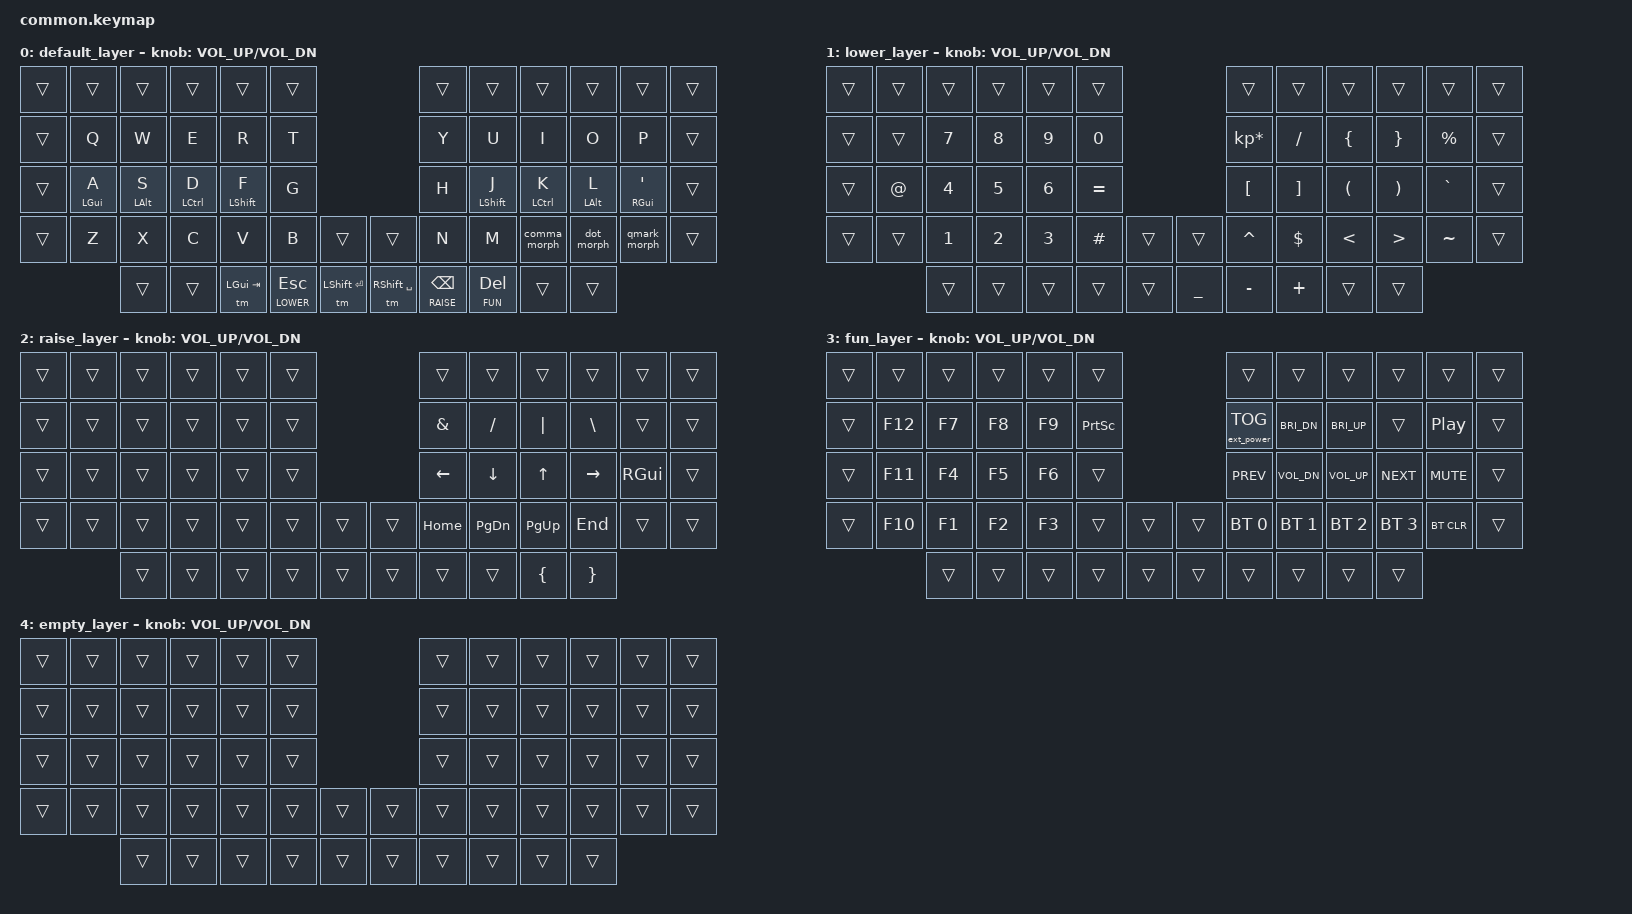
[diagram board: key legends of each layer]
#include <behaviors.dtsi>
#include <dt-bindings/zmk/keys.h>
#include <dt-bindings/zmk/bt.h>
#include <dt-bindings/zmk/ext_power.h>
#include "includes/mods.dtsi"
#include "includes/combos.dtsi"
#include "includes/morphs.dtsi"
#include "includes/settings.dtsi"

#define BASE  0
#define LOWER 1
#define RAISE 2
#define FUN   3

/ {
 
  keymap {
    compatible = "zmk,keymap";

    default_layer {
      bindings = <
//    ╭───┬─────────────┬─────────────┬──────────────┬──────────────┬───────────────╮                                 ╭────────────────┬──────────────┬──────────────┬─────────────┬──────────────┬───╮
//    │   │             │             │              │              │               │                                 │                │              │              │             │              │   │
//    ├───┼─────────────┼─────────────┼──────────────┼──────────────┼───────────────┤                                 ├────────────────┼──────────────┼──────────────┼─────────────┼──────────────┼───┤
//    │   │      Q      │      W      │      E       │      R       │       T       │                                 │       Y        │      U       │      I       │      O      │      P       │   │
//    ├───┼─────────────┼─────────────┼──────────────┼──────────────┼───────────────┤                                 ├────────────────┼──────────────┼──────────────┼─────────────┼──────────────┼───┤
//    │   │ &hml LGUI A │ &hml LALT S │ &hml LCTRL D │ &hml LSHFT F │       G       │                                 │       H        │ &hmr LSHFT J │ &hmr LCTRL K │ &hmr LALT L │ &hmr RGUI '  │   │
//    ├───┼─────────────┼─────────────┼──────────────┼──────────────┼───────────────┼───────────────┬─────────────────┼────────────────┼──────────────┼──────────────┼─────────────┼──────────────┼───┤
//    │   │      Z      │      X      │      C       │      V       │       B       │               │                 │       N        │      M       │ &comma_morph │ &dot_morph  │ &qmark_morph │   │
//    ╰───┴─────────────┼─────────────┼──────────────┼──────────────┼───────────────┼───────────────┼─────────────────┼────────────────┼──────────────┼──────────────┼─────────────┼──────────────┴───╯
//                      │             │              │ &tm LGUI TAB │ &lt LOWER ESC │ &tm LSHFT RET │ &tm RSHFT SPACE │ &lt RAISE BSPC │ &lt FUN DEL  │              │             │                   
//                      ╰─────────────┴──────────────┴──────────────┴───────────────┴───────────────┴─────────────────┴────────────────┴──────────────┴──────────────┴─────────────╯                   
  &trans   &trans        &trans        &trans         &trans         &trans                                            &trans           &trans         &trans         &trans        &trans          &trans
  &trans   &kp Q         &kp W         &kp E          &kp R          &kp T                                             &kp Y            &kp U          &kp I          &kp O         &kp P           &trans
  &trans   &hml LGUI A   &hml LALT S   &hml LCTRL D   &hml LSHFT F   &kp G                                             &kp H            &hmr LSHFT J   &hmr LCTRL K   &hmr LALT L   &hmr RGUI SQT   &trans
  &trans   &kp Z         &kp X         &kp C          &kp V          &kp B           &trans          &trans            &kp N            &kp M          &comma_morph   &dot_morph    &qmark_morph    &trans
                         &trans        &trans         &tm LGUI TAB   &lt LOWER ESC   &tm LSHFT RET   &tm RSHFT SPACE   &lt RAISE BSPC   &lt FUN DEL    &trans         &trans                              
      >;
      sensor-bindings = <&inc_dec_kp C_VOL_UP C_VOL_DN>;
    };

    lower_layer {
      bindings = <
//    ╭───┬───┬───┬───┬───┬───╮       ╭───┬───┬───┬───┬───┬───╮
//    │   │   │   │   │   │   │       │   │   │   │   │   │   │
//    ├───┼───┼───┼───┼───┼───┤       ├───┼───┼───┼───┼───┼───┤
//    │   │   │ 7 │ 8 │ 9 │ 0 │       │ * │ / │ { │ } │ % │   │
//    ├───┼───┼───┼───┼───┼───┤       ├───┼───┼───┼───┼───┼───┤
//    │   │ @ │ 4 │ 5 │ 6 │ = │       │ [ │ ] │ ( │ ) │ ` │   │
//    ├───┼───┼───┼───┼───┼───┼───┬───┼───┼───┼───┼───┼───┼───┤
//    │   │   │ 1 │ 2 │ 3 │ # │   │   │ ^ │ $ │ < │ > │ ~ │   │
//    ╰───┴───┼───┼───┼───┼───┼───┼───┼───┼───┼───┼───┼───┴───╯
//            │   │   │   │   │   │ _ │ - │ + │   │   │        
//            ╰───┴───┴───┴───┴───┴───┴───┴───┴───┴───╯        
  &trans   &trans   &trans   &trans   &trans   &trans                                &trans            &trans       &trans     &trans     &trans      &trans
  &trans   &trans   &kp N7   &kp N8   &kp N9   &kp N0                                &kp KP_MULTIPLY   &kp FSLH     &kp LBRC   &kp RBRC   &kp PRCNT   &trans
  &trans   &kp AT   &kp N4   &kp N5   &kp N6   &kp EQUAL                             &kp LBKT          &kp RBKT     &kp LPAR   &kp RPAR   &kp GRAVE   &trans
  &trans   &trans   &kp N1   &kp N2   &kp N3   &kp HASH    &trans   &trans           &kp CARET         &kp DOLLAR   &kp LT     &kp GT     &kp TILDE   &trans
                    &trans   &trans   &trans   &trans      &trans   &kp UNDERSCORE   &kp MINUS         &kp PLUS     &trans     &trans                       
      >;
      sensor-bindings = <&inc_dec_kp C_VOL_UP C_VOL_DN>;
    };

    raise_layer {
      bindings = <
//    ╭───┬───┬───┬───┬───┬───╮       ╭───┬───┬───┬───┬──────┬───╮
//    │   │   │   │   │   │   │       │   │   │   │   │      │   │
//    ├───┼───┼───┼───┼───┼───┤       ├───┼───┼───┼───┼──────┼───┤
//    │   │   │   │   │   │   │       │ & │ / │ | │ \ │      │   │
//    ├───┼───┼───┼───┼───┼───┤       ├───┼───┼───┼───┼──────┼───┤
//    │   │   │   │   │   │   │       │ ← │ ↓ │ ↑ │ → │ RGUI │   │
//    ├───┼───┼───┼───┼───┼───┼───┬───┼───┼───┼───┼───┼──────┼───┤
//    │   │   │   │   │   │   │   │   │ ⇱ │ ⇟ │ ⇞ │ ⇲ │      │   │
//    ╰───┴───┼───┼───┼───┼───┼───┼───┼───┼───┼───┼───┼──────┴───╯
//            │   │   │   │   │   │   │   │   │ { │ } │           
//            ╰───┴───┴───┴───┴───┴───┴───┴───┴───┴───╯           
  &trans   &trans   &trans   &trans   &trans   &trans                     &trans     &trans      &trans      &trans      &trans     &trans
  &trans   &trans   &trans   &trans   &trans   &trans                     &kp AMPS   &kp FSLH    &kp PIPE    &kp BSLH    &trans     &trans
  &trans   &trans   &trans   &trans   &trans   &trans                     &kp LEFT   &kp DOWN    &kp UP      &kp RIGHT   &kp RGUI   &trans
  &trans   &trans   &trans   &trans   &trans   &trans   &trans   &trans   &kp HOME   &kp PG_DN   &kp PG_UP   &kp END     &trans     &trans
                    &trans   &trans   &trans   &trans   &trans   &trans   &trans     &trans      &kp LBRC    &kp RBRC                     
      >;
      sensor-bindings = <&inc_dec_kp C_VOL_UP C_VOL_DN>;
    };

    fun_layer {
      bindings = <
//    ╭───┬─────┬────┬────┬────┬───────╮       ╭──────────┬──────────┬──────────┬──────────┬────────┬───╮
//    │   │     │    │    │    │       │       │          │          │          │          │        │   │
//    ├───┼─────┼────┼────┼────┼───────┤       ├──────────┼──────────┼──────────┼──────────┼────────┼───┤
//    │   │ F12 │ F7 │ F8 │ F9 │ PSCRN │       │    🔌    │    🔅    │    🔆    │          │   ⏯︎    │   │
//    ├───┼─────┼────┼────┼────┼───────┤       ├──────────┼──────────┼──────────┼──────────┼────────┼───┤
//    │   │ F11 │ F4 │ F5 │ F6 │       │       │    ⏴︎     │    🔉    │    🔊    │    ⏵︎     │   🔇   │   │
//    ├───┼─────┼────┼────┼────┼───────┼───┬───┼──────────┼──────────┼──────────┼──────────┼────────┼───┤
//    │   │ F10 │ F1 │ F2 │ F3 │       │   │   │ BT_SEL 0 │ BT_SEL 1 │ BT_SEL 2 │ BT_SEL 3 │ BT_CLR │   │
//    ╰───┴─────┼────┼────┼────┼───────┼───┼───┼──────────┼──────────┼──────────┼──────────┼────────┴───╯
//              │    │    │    │       │   │   │          │          │          │          │             
//              ╰────┴────┴────┴───────┴───┴───┴──────────┴──────────┴──────────┴──────────╯             
  &trans   &trans    &trans   &trans   &trans   &trans                        &trans              &trans         &trans         &trans         &trans       &trans
  &trans   &kp F12   &kp F7   &kp F8   &kp F9   &kp PSCRN                     &ext_power EP_TOG   &kp C_BRI_DN   &kp C_BRI_UP   &trans         &kp C_PP     &trans
  &trans   &kp F11   &kp F4   &kp F5   &kp F6   &trans                        &kp C_PREV          &kp C_VOL_DN   &kp C_VOL_UP   &kp C_NEXT     &kp C_MUTE   &trans
  &trans   &kp F10   &kp F1   &kp F2   &kp F3   &trans      &trans   &trans   &bt BT_SEL 0        &bt BT_SEL 1   &bt BT_SEL 2   &bt BT_SEL 3   &bt BT_CLR   &trans
                     &trans   &trans   &trans   &trans      &trans   &trans   &trans              &trans         &trans         &trans                            
      >;
      sensor-bindings = <&inc_dec_kp C_VOL_UP C_VOL_DN>;
    };

    empty_layer {
      bindings = <
//    ╭───┬───┬───┬───┬───┬───╮       ╭───┬───┬───┬───┬───┬───╮
//    │   │   │   │   │   │   │       │   │   │   │   │   │   │
//    ├───┼───┼───┼───┼───┼───┤       ├───┼───┼───┼───┼───┼───┤
//    │   │   │   │   │   │   │       │   │   │   │   │   │   │
//    ├───┼───┼───┼───┼───┼───┤       ├───┼───┼───┼───┼───┼───┤
//    │   │   │   │   │   │   │       │   │   │   │   │   │   │
//    ├───┼───┼───┼───┼───┼───┼───┬───┼───┼───┼───┼───┼───┼───┤
//    │   │   │   │   │   │   │   │   │   │   │   │   │   │   │
//    ╰───┴───┼───┼───┼───┼───┼───┼───┼───┼───┼───┼───┼───┴───╯
//            │   │   │   │   │   │   │   │   │   │   │        
//            ╰───┴───┴───┴───┴───┴───┴───┴───┴───┴───╯        
  &trans   &trans   &trans   &trans   &trans   &trans                     &trans   &trans   &trans   &trans   &trans   &trans
  &trans   &trans   &trans   &trans   &trans   &trans                     &trans   &trans   &trans   &trans   &trans   &trans
  &trans   &trans   &trans   &trans   &trans   &trans                     &trans   &trans   &trans   &trans   &trans   &trans
  &trans   &trans   &trans   &trans   &trans   &trans   &trans   &trans   &trans   &trans   &trans   &trans   &trans   &trans
                    &trans   &trans   &trans   &trans   &trans   &trans   &trans   &trans   &trans   &trans                  
      >;
      sensor-bindings = <&inc_dec_kp C_VOL_UP C_VOL_DN>;
    };
  };
};
